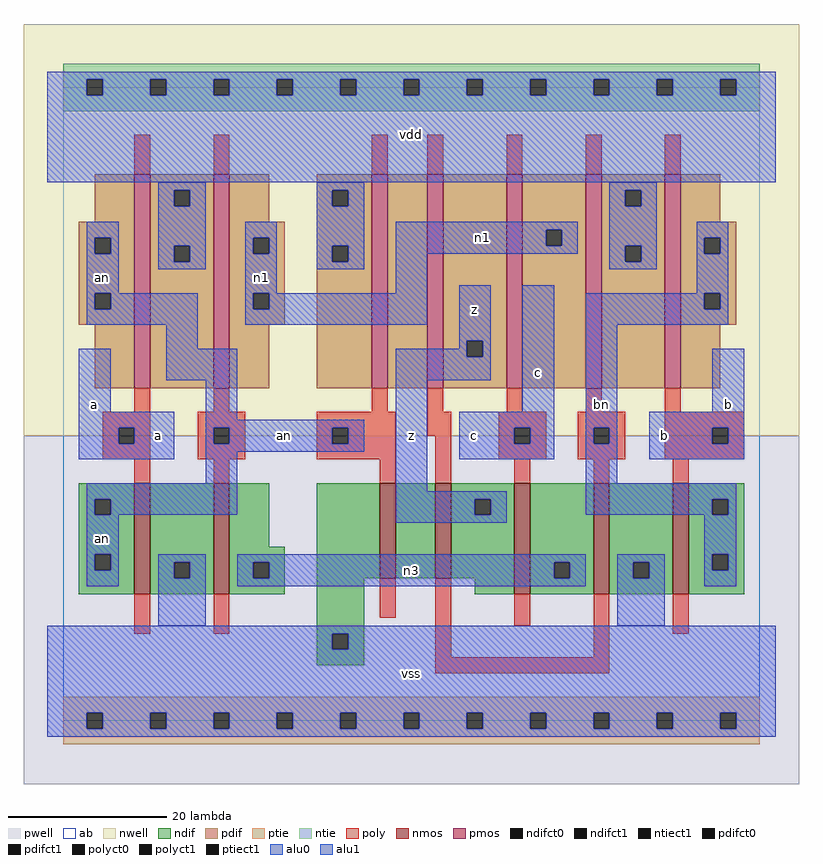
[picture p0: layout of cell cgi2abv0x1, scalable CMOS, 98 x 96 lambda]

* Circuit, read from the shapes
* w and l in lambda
.subckt cgi2abv0x1 a an b bn c n1 n3 vdd vss z
M1 vss a an vss nfet w=14 l=2
M2 n3 an vss vss nfet w=14 l=2
M3 n2 an vss vss nfet w=12 l=2
M4 z bn n2 vss nfet w=12 l=2
M5 n3 c z vss nfet w=14 l=2
M6 vss bn n3 vss nfet w=14 l=2
M7 bn b vss vss nfet w=14 l=2
M8 vdd a an vdd pfet w=27 l=2
M9 n1 an vdd vdd pfet w=27 l=2
M10 n4 an vdd vdd pfet w=27 l=2
M11 z bn n4 vdd pfet w=27 l=2
M12 n1 c z vdd pfet w=27 l=2
M13 vdd bn n1 vdd pfet w=27 l=2
M14 bn b vdd vdd pfet w=27 l=2
.ends

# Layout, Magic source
magic
tech scmos
<< ab >>
rect 0 0 88 80
<< nwell >>
rect -5 36 93 88
<< pwell >>
rect -5 -8 93 36
<< poly >>
rect 9 69 11 74
rect 19 69 21 74
rect 39 69 41 74
rect 46 69 48 74
rect 56 69 58 74
rect 66 69 68 74
rect 76 69 78 74
rect 9 39 11 42
rect 19 39 21 42
rect 39 39 41 42
rect 46 39 48 42
rect 56 39 58 42
rect 66 39 68 42
rect 76 39 78 42
rect 5 37 11 39
rect 5 35 7 37
rect 9 35 11 37
rect 5 33 11 35
rect 17 37 23 39
rect 17 35 19 37
rect 21 35 23 37
rect 17 33 23 35
rect 32 37 42 39
rect 32 35 34 37
rect 36 35 42 37
rect 46 36 49 39
rect 32 33 42 35
rect 9 30 11 33
rect 19 30 21 33
rect 40 30 42 33
rect 47 30 49 36
rect 55 37 61 39
rect 55 35 57 37
rect 59 35 61 37
rect 55 33 61 35
rect 65 37 71 39
rect 65 35 67 37
rect 69 35 71 37
rect 65 33 71 35
rect 76 37 86 39
rect 76 35 82 37
rect 84 35 86 37
rect 76 33 86 35
rect 57 30 59 33
rect 67 30 69 33
rect 77 30 79 33
rect 9 11 11 16
rect 19 11 21 16
rect 40 13 42 18
rect 47 8 49 18
rect 57 12 59 16
rect 67 8 69 16
rect 77 11 79 16
rect 47 6 69 8
<< ndif >>
rect 2 28 9 30
rect 2 26 4 28
rect 6 26 9 28
rect 2 21 9 26
rect 2 19 4 21
rect 6 19 9 21
rect 2 16 9 19
rect 11 20 19 30
rect 11 18 14 20
rect 16 18 19 20
rect 11 16 19 18
rect 21 22 26 30
rect 21 20 28 22
rect 21 18 24 20
rect 26 18 28 20
rect 21 16 28 18
rect 32 18 40 30
rect 42 18 47 30
rect 49 28 57 30
rect 49 26 52 28
rect 54 26 57 28
rect 49 18 57 26
rect 32 11 38 18
rect 32 9 34 11
rect 36 9 38 11
rect 32 7 38 9
rect 52 16 57 18
rect 59 20 67 30
rect 59 18 62 20
rect 64 18 67 20
rect 59 16 67 18
rect 69 20 77 30
rect 69 18 72 20
rect 74 18 77 20
rect 69 16 77 18
rect 79 28 86 30
rect 79 26 82 28
rect 84 26 86 28
rect 79 21 86 26
rect 79 19 82 21
rect 84 19 86 21
rect 79 16 86 19
<< pdif >>
rect 4 63 9 69
rect 2 61 9 63
rect 2 59 4 61
rect 6 59 9 61
rect 2 54 9 59
rect 2 52 4 54
rect 6 52 9 54
rect 2 50 9 52
rect 4 42 9 50
rect 11 67 19 69
rect 11 65 14 67
rect 16 65 19 67
rect 11 60 19 65
rect 11 58 14 60
rect 16 58 19 60
rect 11 42 19 58
rect 21 63 26 69
rect 32 67 39 69
rect 32 65 34 67
rect 36 65 39 67
rect 21 61 28 63
rect 21 59 24 61
rect 26 59 28 61
rect 21 54 28 59
rect 21 52 24 54
rect 26 52 28 54
rect 21 50 28 52
rect 32 60 39 65
rect 32 58 34 60
rect 36 58 39 60
rect 21 42 26 50
rect 32 42 39 58
rect 41 42 46 69
rect 48 48 56 69
rect 48 46 51 48
rect 53 46 56 48
rect 48 42 56 46
rect 58 62 66 69
rect 58 60 61 62
rect 63 60 66 62
rect 58 42 66 60
rect 68 67 76 69
rect 68 65 71 67
rect 73 65 76 67
rect 68 60 76 65
rect 68 58 71 60
rect 73 58 76 60
rect 68 42 76 58
rect 78 63 83 69
rect 78 61 85 63
rect 78 59 81 61
rect 83 59 85 61
rect 78 54 85 59
rect 78 52 81 54
rect 83 52 85 54
rect 78 50 85 52
rect 78 42 83 50
<< alu1 >>
rect -2 81 90 82
rect -2 79 3 81
rect 5 79 11 81
rect 13 79 19 81
rect 21 79 27 81
rect 29 79 35 81
rect 37 79 43 81
rect 45 79 51 81
rect 53 79 59 81
rect 61 79 67 81
rect 69 79 75 81
rect 77 79 83 81
rect 85 79 90 81
rect -2 68 90 79
rect 50 48 54 55
rect 50 47 51 48
rect 2 39 6 47
rect 2 37 14 39
rect 2 35 7 37
rect 9 35 14 37
rect 2 33 14 35
rect 42 46 51 47
rect 53 46 54 48
rect 42 43 54 46
rect 42 29 46 43
rect 58 39 62 55
rect 50 37 62 39
rect 50 35 57 37
rect 59 35 62 37
rect 50 33 62 35
rect 82 39 86 47
rect 74 37 86 39
rect 74 35 82 37
rect 84 35 86 37
rect 74 33 86 35
rect 42 28 56 29
rect 42 26 52 28
rect 54 26 56 28
rect 42 25 56 26
rect -2 11 90 12
rect -2 9 34 11
rect 36 9 90 11
rect -2 1 90 9
rect -2 -1 3 1
rect 5 -1 11 1
rect 13 -1 19 1
rect 21 -1 27 1
rect 29 -1 35 1
rect 37 -1 43 1
rect 45 -1 51 1
rect 53 -1 59 1
rect 61 -1 67 1
rect 69 -1 75 1
rect 77 -1 83 1
rect 85 -1 90 1
rect -2 -2 90 -1
<< ptie >>
rect 0 1 88 3
rect 0 -1 3 1
rect 5 -1 11 1
rect 13 -1 19 1
rect 21 -1 27 1
rect 29 -1 35 1
rect 37 -1 43 1
rect 45 -1 51 1
rect 53 -1 59 1
rect 61 -1 67 1
rect 69 -1 75 1
rect 77 -1 83 1
rect 85 -1 88 1
rect 0 -3 88 -1
<< ntie >>
rect 0 81 88 83
rect 0 79 3 81
rect 5 79 11 81
rect 13 79 19 81
rect 21 79 27 81
rect 29 79 35 81
rect 37 79 43 81
rect 45 79 51 81
rect 53 79 59 81
rect 61 79 67 81
rect 69 79 75 81
rect 77 79 83 81
rect 85 79 88 81
rect 0 77 88 79
<< nmos >>
rect 9 16 11 30
rect 19 16 21 30
rect 40 18 42 30
rect 47 18 49 30
rect 57 16 59 30
rect 67 16 69 30
rect 77 16 79 30
<< pmos >>
rect 9 42 11 69
rect 19 42 21 69
rect 39 42 41 69
rect 46 42 48 69
rect 56 42 58 69
rect 66 42 68 69
rect 76 42 78 69
<< polyct0 >>
rect 19 35 21 37
rect 34 35 36 37
rect 67 35 69 37
<< polyct1 >>
rect 7 35 9 37
rect 57 35 59 37
rect 82 35 84 37
<< ndifct0 >>
rect 4 26 6 28
rect 4 19 6 21
rect 14 18 16 20
rect 24 18 26 20
rect 62 18 64 20
rect 72 18 74 20
rect 82 26 84 28
rect 82 19 84 21
<< ndifct1 >>
rect 52 26 54 28
rect 34 9 36 11
<< ntiect1 >>
rect 3 79 5 81
rect 11 79 13 81
rect 19 79 21 81
rect 27 79 29 81
rect 35 79 37 81
rect 43 79 45 81
rect 51 79 53 81
rect 59 79 61 81
rect 67 79 69 81
rect 75 79 77 81
rect 83 79 85 81
<< ptiect1 >>
rect 3 -1 5 1
rect 11 -1 13 1
rect 19 -1 21 1
rect 27 -1 29 1
rect 35 -1 37 1
rect 43 -1 45 1
rect 51 -1 53 1
rect 59 -1 61 1
rect 67 -1 69 1
rect 75 -1 77 1
rect 83 -1 85 1
<< pdifct0 >>
rect 4 59 6 61
rect 4 52 6 54
rect 14 65 16 67
rect 14 58 16 60
rect 34 65 36 67
rect 24 59 26 61
rect 24 52 26 54
rect 34 58 36 60
rect 61 60 63 62
rect 71 65 73 67
rect 71 58 73 60
rect 81 59 83 61
rect 81 52 83 54
<< pdifct1 >>
rect 51 46 53 48
<< alu0 >>
rect 12 67 18 68
rect 12 65 14 67
rect 16 65 18 67
rect 3 61 7 63
rect 3 59 4 61
rect 6 59 7 61
rect 3 54 7 59
rect 12 60 18 65
rect 32 67 38 68
rect 32 65 34 67
rect 36 65 38 67
rect 12 58 14 60
rect 16 58 18 60
rect 12 57 18 58
rect 23 61 27 63
rect 23 59 24 61
rect 26 59 27 61
rect 23 54 27 59
rect 32 60 38 65
rect 69 67 75 68
rect 69 65 71 67
rect 73 65 75 67
rect 32 58 34 60
rect 36 58 38 60
rect 32 57 38 58
rect 42 62 65 63
rect 42 60 61 62
rect 63 60 65 62
rect 42 59 65 60
rect 69 60 75 65
rect 42 54 46 59
rect 69 58 71 60
rect 73 58 75 60
rect 69 57 75 58
rect 80 61 84 63
rect 80 59 81 61
rect 83 59 84 61
rect 3 52 4 54
rect 6 52 17 54
rect 3 50 17 52
rect 23 52 24 54
rect 26 52 46 54
rect 23 50 46 52
rect 13 47 17 50
rect 13 43 22 47
rect 18 38 22 43
rect 18 37 38 38
rect 18 35 19 37
rect 21 35 34 37
rect 36 35 38 37
rect 18 34 38 35
rect 18 30 22 34
rect 3 28 22 30
rect 3 26 4 28
rect 6 26 22 28
rect 80 54 84 59
rect 66 52 81 54
rect 83 52 84 54
rect 66 50 84 52
rect 66 37 70 50
rect 66 35 67 37
rect 69 35 70 37
rect 66 30 70 35
rect 66 28 85 30
rect 66 26 82 28
rect 84 26 85 28
rect 3 21 7 26
rect 81 21 85 26
rect 3 19 4 21
rect 6 19 7 21
rect 3 17 7 19
rect 12 20 18 21
rect 12 18 14 20
rect 16 18 18 20
rect 12 12 18 18
rect 22 20 66 21
rect 22 18 24 20
rect 26 18 62 20
rect 64 18 66 20
rect 22 17 66 18
rect 70 20 76 21
rect 70 18 72 20
rect 74 18 76 20
rect 70 12 76 18
rect 81 19 82 21
rect 84 19 85 21
rect 81 17 85 19
<< labels >>
rlabel alu0 5 23 5 23 6 an
rlabel alu0 5 56 5 56 6 an
rlabel alu0 28 36 28 36 6 an
rlabel alu0 25 56 25 56 6 n1
rlabel alu0 53 61 53 61 6 n1
rlabel alu0 44 19 44 19 6 n3
rlabel alu0 68 40 68 40 6 bn
rlabel alu1 12 36 12 36 6 a
rlabel alu1 4 40 4 40 6 a
rlabel alu1 44 6 44 6 6 vss
rlabel alu1 44 36 44 36 6 z
rlabel alu1 52 36 52 36 6 c
rlabel alu1 60 44 60 44 6 c
rlabel alu1 52 52 52 52 6 z
rlabel alu1 44 74 44 74 6 vdd
rlabel alu1 76 36 76 36 6 b
rlabel alu1 84 40 84 40 6 b
<< end >>
